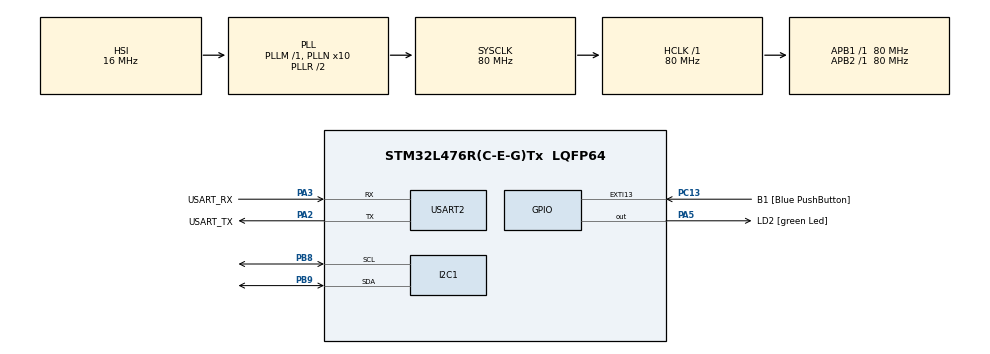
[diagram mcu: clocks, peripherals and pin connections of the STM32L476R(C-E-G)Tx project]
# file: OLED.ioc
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I2C1.Timing=0x10D19CE4
Mcu.Family=STM32L4
Mcu.Name=STM32L476R(C-E-G)Tx
Mcu.Package=LQFP64
NVIC.PriorityGroup=NVIC_PRIORITYGROUP_4
PA13\ (JTMS-SWDIO).GPIO_Label=TMS
PA13\ (JTMS-SWDIO).Signal=SYS_JTMS-SWDIO
PA14\ (JTCK-SWCLK).GPIO_Label=TCK
PA14\ (JTCK-SWCLK).Signal=SYS_JTCK-SWCLK
PA2.GPIO_Label=USART_TX
PA2.GPIO_Mode=GPIO_MODE_AF_PP
PA2.GPIO_PuPd=GPIO_NOPULL
PA2.GPIO_Speed=GPIO_SPEED_FREQ_VERY_HIGH
PA2.Mode=Asynchronous
PA2.Signal=USART2_TX
PA3.GPIO_Label=USART_RX
PA3.GPIO_Mode=GPIO_MODE_AF_PP
PA3.GPIO_PuPd=GPIO_NOPULL
PA3.GPIO_Speed=GPIO_SPEED_FREQ_VERY_HIGH
PA3.Mode=Asynchronous
PA3.Signal=USART2_RX
PA5.GPIO_Label=LD2 [green Led]
PA5.GPIO_ModeDefaultOutputPP=GPIO_MODE_OUTPUT_PP
PA5.GPIO_PuPd=GPIO_NOPULL
PA5.GPIO_Speed=GPIO_SPEED_FREQ_LOW
PA5.Signal=GPIO_Output
PB3\ (JTDO-TRACESWO).GPIO_Label=SWO
PB3\ (JTDO-TRACESWO).Signal=SYS_JTDO-SWO
PB8.Mode=I2C
PB8.Signal=I2C1_SCL
PB9.Mode=I2C
PB9.Signal=I2C1_SDA
PC13.GPIO_Label=B1 [Blue PushButton]
PC13.GPIO_ModeDefaultEXTI=GPIO_MODE_IT_FALLING
PC13.GPIO_PuPd=GPIO_NOPULL
PC13.Signal=GPXTI13
PC14-OSC32_IN\ (PC14).Signal=RCC_OSC32_IN
PC15-OSC32_OUT\ (PC15).Signal=RCC_OSC32_OUT
PH0-OSC_IN\ (PH0).Signal=RCC_OSC_IN
PH1-OSC_OUT\ (PH1).Signal=RCC_OSC_OUT
ProjectManager.HeapSize=0x200
ProjectManager.StackSize=0x400
ProjectManager.TargetToolchain=STM32CubeIDE
RCC.ADCFreq_Value=64000000
RCC.AHBFreq_Value=80000000
RCC.APB1Freq_Value=80000000
RCC.APB1TimFreq_Value=80000000
RCC.APB2Freq_Value=80000000
RCC.APB2TimFreq_Value=80000000
RCC.CortexFreq_Value=80000000
RCC.HCLKFreq_Value=80000000
RCC.HSE_VALUE=8000000
RCC.HSI_VALUE=16000000
RCC.LSE_VALUE=32768
RCC.MSI_VALUE=4000000
RCC.PLLN=10
RCC.PLLSourceVirtual=RCC_PLLSOURCE_HSI
RCC.PREFETCH_ENABLE=1
RCC.SYSCLKFreq_VALUE=80000000
RCC.SYSCLKSource=RCC_SYSCLKSOURCE_PLLCLK
RCC.USBFreq_Value=64000000
RCC.VCOOutputFreq_Value=160000000
USART2.VirtualMode-Asynchronous=VM_ASYNC
board=NUCLEO-L476RG

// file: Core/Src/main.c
/* USER CODE BEGIN Header */
/**
  ******************************************************************************
  * @file           : main.c
  * @brief          : Main program body
  ******************************************************************************
  * @attention
  *
  * Copyright (c) 2026 STMicroelectronics.
  * All rights reserved.
  *
  * This software is licensed under terms that can be found in the LICENSE file
  * in the root directory of this software component.
  * If no LICENSE file comes with this software, it is provided AS-IS.
  *
  ******************************************************************************
  */
/* USER CODE END Header */
#include "main.h"

/* USER CODE BEGIN Includes */
#include "ssd1306.h"
#include "ssd1306_fonts.h"
/* USER CODE END Includes */

I2C_HandleTypeDef hi2c1;

UART_HandleTypeDef huart2;

void SystemClock_Config(void);
static void MX_GPIO_Init(void);
static void MX_I2C1_Init(void);
static void MX_USART2_UART_Init(void);

int main(void)
{

  /* USER CODE BEGIN 1 */
	char myText[] = "Automotive Systems 2";
	char retVal;
  /* USER CODE END 1 */

  /* MCU Configuration--------------------------------------------------------*/

  /* Reset of all peripherals, Initializes the Flash interface and the Systick. */
  HAL_Init();

  /* Configure the system clock */
  SystemClock_Config();

  /* Initialize all configured peripherals */
  MX_GPIO_Init();
  MX_I2C1_Init();
  MX_USART2_UART_Init();
  /* USER CODE BEGIN 2 */
  ssd1306_Init();
  ssd1306_Fill(Black);
  ssd1306_SetCursor(0,5);
  retVal = ssd1306_WriteString(myText, Font_11x18, White);
  ssd1306_UpdateScreen();
  /* USER CODE END 2 */

  /* Infinite loop */
  /* USER CODE BEGIN WHILE */
  while (1)
  {
	  ssd1306_Fill(White);
	  ssd1306_UpdateScreen();
	  HAL_Delay(1000);
	  ssd1306_Fill(Black);
	  ssd1306_SetCursor(0,5);
	  retVal = ssd1306_WriteString(myText, Font_7x10, White);
	  ssd1306_UpdateScreen();
	  HAL_Delay(1000);
    /* USER CODE END WHILE */

  }
}

void SystemClock_Config(void)
{
  RCC_OscInitTypeDef RCC_OscInitStruct = {0};
  RCC_ClkInitTypeDef RCC_ClkInitStruct = {0};

  /** Configure the main internal regulator output voltage
  */
  if (HAL_PWREx_ControlVoltageScaling(PWR_REGULATOR_VOLTAGE_SCALE1) != HAL_OK)
  {
    Error_Handler();
  }

  /** Initializes the RCC Oscillators according to the specified parameters
  * in the RCC_OscInitTypeDef structure.
  */
  RCC_OscInitStruct.OscillatorType = RCC_OSCILLATORTYPE_HSI;
  RCC_OscInitStruct.HSIState = RCC_HSI_ON;
  RCC_OscInitStruct.HSICalibrationValue = RCC_HSICALIBRATION_DEFAULT;
  RCC_OscInitStruct.PLL.PLLState = RCC_PLL_ON;
  RCC_OscInitStruct.PLL.PLLSource = RCC_PLLSOURCE_HSI;
  RCC_OscInitStruct.PLL.PLLM = 1;
  RCC_OscInitStruct.PLL.PLLN = 10;
  RCC_OscInitStruct.PLL.PLLP = RCC_PLLP_DIV7;
  RCC_OscInitStruct.PLL.PLLQ = RCC_PLLQ_DIV2;
  RCC_OscInitStruct.PLL.PLLR = RCC_PLLR_DIV2;
  if (HAL_RCC_OscConfig(&RCC_OscInitStruct) != HAL_OK)
  {
    Error_Handler();
  }

  /** Initializes the CPU, AHB and APB buses clocks
  */
  RCC_ClkInitStruct.ClockType = RCC_CLOCKTYPE_HCLK|RCC_CLOCKTYPE_SYSCLK
                              |RCC_CLOCKTYPE_PCLK1|RCC_CLOCKTYPE_PCLK2;
  RCC_ClkInitStruct.SYSCLKSource = RCC_SYSCLKSOURCE_PLLCLK;
  RCC_ClkInitStruct.AHBCLKDivider = RCC_SYSCLK_DIV1;
  RCC_ClkInitStruct.APB1CLKDivider = RCC_HCLK_DIV1;
  RCC_ClkInitStruct.APB2CLKDivider = RCC_HCLK_DIV1;

  if (HAL_RCC_ClockConfig(&RCC_ClkInitStruct, FLASH_LATENCY_4) != HAL_OK)
  {
    Error_Handler();
  }
}

static void MX_I2C1_Init(void)
{

  hi2c1.Instance = I2C1;
  hi2c1.Init.Timing = 0x10D19CE4;
  hi2c1.Init.OwnAddress1 = 0;
  hi2c1.Init.AddressingMode = I2C_ADDRESSINGMODE_7BIT;
  hi2c1.Init.DualAddressMode = I2C_DUALADDRESS_DISABLE;
  hi2c1.Init.OwnAddress2 = 0;
  hi2c1.Init.OwnAddress2Masks = I2C_OA2_NOMASK;
  hi2c1.Init.GeneralCallMode = I2C_GENERALCALL_DISABLE;
  hi2c1.Init.NoStretchMode = I2C_NOSTRETCH_DISABLE;
  if (HAL_I2C_Init(&hi2c1) != HAL_OK)
  {
    Error_Handler();
  }

  /** Configure Analogue filter
  */
  if (HAL_I2CEx_ConfigAnalogFilter(&hi2c1, I2C_ANALOGFILTER_ENABLE) != HAL_OK)
  {
    Error_Handler();
  }

  /** Configure Digital filter
  */
  if (HAL_I2CEx_ConfigDigitalFilter(&hi2c1, 0) != HAL_OK)
  {
    Error_Handler();
  }

}

static void MX_USART2_UART_Init(void)
{

  huart2.Instance = USART2;
  huart2.Init.BaudRate = 115200;
  huart2.Init.WordLength = UART_WORDLENGTH_8B;
  huart2.Init.StopBits = UART_STOPBITS_1;
  huart2.Init.Parity = UART_PARITY_NONE;
  huart2.Init.Mode = UART_MODE_TX_RX;
  huart2.Init.HwFlowCtl = UART_HWCONTROL_NONE;
  huart2.Init.OverSampling = UART_OVERSAMPLING_16;
  huart2.Init.OneBitSampling = UART_ONE_BIT_SAMPLE_DISABLE;
  huart2.AdvancedInit.AdvFeatureInit = UART_ADVFEATURE_NO_INIT;
  if (HAL_UART_Init(&huart2) != HAL_OK)
  {
    Error_Handler();
  }

}

static void MX_GPIO_Init(void)
{
  GPIO_InitTypeDef GPIO_InitStruct = {0};

  /* GPIO Ports Clock Enable */
  __HAL_RCC_GPIOC_CLK_ENABLE();
  __HAL_RCC_GPIOH_CLK_ENABLE();
  __HAL_RCC_GPIOA_CLK_ENABLE();
  __HAL_RCC_GPIOB_CLK_ENABLE();

  /*Configure GPIO pin Output Level */
  HAL_GPIO_WritePin(LD2_GPIO_Port, LD2_Pin, GPIO_PIN_RESET);

  /*Configure GPIO pin : B1_Pin */
  GPIO_InitStruct.Pin = B1_Pin;
  GPIO_InitStruct.Mode = GPIO_MODE_IT_FALLING;
  GPIO_InitStruct.Pull = GPIO_NOPULL;
  HAL_GPIO_Init(B1_GPIO_Port, &GPIO_InitStruct);

  /*Configure GPIO pin : LD2_Pin */
  GPIO_InitStruct.Pin = LD2_Pin;
  GPIO_InitStruct.Mode = GPIO_MODE_OUTPUT_PP;
  GPIO_InitStruct.Pull = GPIO_NOPULL;
  GPIO_InitStruct.Speed = GPIO_SPEED_FREQ_LOW;
  HAL_GPIO_Init(LD2_GPIO_Port, &GPIO_InitStruct);

}

void Error_Handler(void)
{
  __disable_irq();
  while (1)
  {
  }
}
